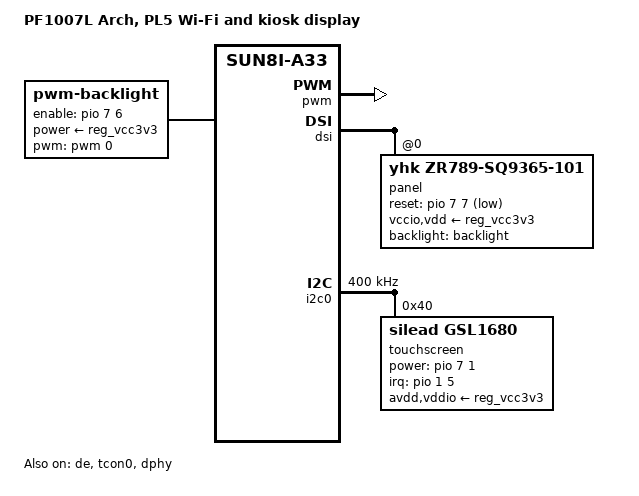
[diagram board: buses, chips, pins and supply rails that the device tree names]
// SPDX-License-Identifier: (GPL-2.0+ OR MIT)

#include "sun8i-a33-pf1007l-min-wifi.dts"
#include <dt-bindings/interrupt-controller/irq.h>

/ {
	model = "PF1007L Arch, PL5 Wi-Fi and kiosk display";
	backlight: backlight {
		compatible = "pwm-backlight";
		pwms = <&pwm 0 20000 0>;
		enable-gpios = <&pio 7 6 GPIO_ACTIVE_HIGH>;
		power-supply = <&reg_vcc3v3>;
		brightness-levels = <0 8 16 32 64 96 128 192 255>;
		default-brightness-level = <6>;
	};
};

&de {
	status = "okay";
};

&tcon0 {
	status = "okay";
};

&dphy {
	status = "okay";
};

&pwm {
	pinctrl-names = "default";
	pinctrl-0 = <&pwm0_pin>;
	status = "okay";
};

&dsi {
	vcc-dsi-supply = <&reg_vcc3v3>;
	status = "okay";
	panel@0 {
		compatible = "yhk,zr789-sq9365-101", "jadard,jd9365da-h3";
		reg = <0>;
		vccio-supply = <&reg_vcc3v3>;
		vdd-supply = <&reg_vcc3v3>;
		reset-gpios = <&pio 7 7 GPIO_ACTIVE_LOW>;
		backlight = <&backlight>;
		rotation = <90>;
	};
};

&i2c0 {
	clock-frequency = <400000>;
	status = "okay";
	touchscreen@40 {
		compatible = "silead,gsl1680";
		reg = <0x40>;
		interrupt-parent = <&pio>;
		interrupts = <1 5 IRQ_TYPE_EDGE_FALLING>;
		power-gpios = <&pio 7 1 GPIO_ACTIVE_HIGH>;
		avdd-supply = <&reg_vcc3v3>;
		vddio-supply = <&reg_vcc3v3>;
		firmware-name = "gsl_m86_hd.fw";
		touchscreen-size-x = <960>;
		touchscreen-size-y = <640>;
	};
};
